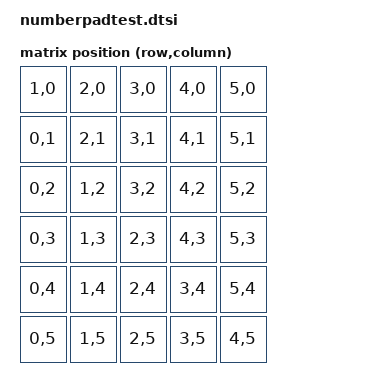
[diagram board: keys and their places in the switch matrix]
#include <dt-bindings/zmk/matrix_transform.h>
#include <physical_layouts.dtsi>
#include <dt-bindings/zmk/bt.h>

/ {
  chosen {
    zmk,physical-layout = &numberpadtest_physical_layout;
  };

numberpadtest_physical_layout: numberpadtest_physical_layout {
      compatible = "zmk,physical-layout";
      display-name = "Default";
      transform = <&default_transform>;
      kscan = <&kscan0>;

      keys  //                     w   h    x    y     rot    rx    ry
          = <&key_physical_attrs 100 100    0    0       0     0     0>
          , <&key_physical_attrs 100 100  100    0       0     0     0>
          , <&key_physical_attrs 100 100  200    0       0     0     0>
          , <&key_physical_attrs 100 100  300    0       0     0     0>
          , <&key_physical_attrs 100 100  400    0       0     0     0>
          , <&key_physical_attrs 100 100    0    100       0     0     0>
          , <&key_physical_attrs 100 100  100    100       0     0     0>
          , <&key_physical_attrs 100 100  200    100       0     0     0>
          , <&key_physical_attrs 100 100  300    100       0     0     0>
          , <&key_physical_attrs 100 100  400    100       0     0     0>
          , <&key_physical_attrs 100 100    0    200       0     0     0>
          , <&key_physical_attrs 100 100  100    200       0     0     0>
          , <&key_physical_attrs 100 100  200    200       0     0     0>
          , <&key_physical_attrs 100 100  300    200       0     0     0>
          , <&key_physical_attrs 100 100  400    200       0     0     0>
          , <&key_physical_attrs 100 100    0    300       0     0     0>
          , <&key_physical_attrs 100 100  100    300       0     0     0>
          , <&key_physical_attrs 100 100  200    300       0     0     0>
          , <&key_physical_attrs 100 100  300    300       0     0     0>
          , <&key_physical_attrs 100 100  400    300       0     0     0>
          , <&key_physical_attrs 100 100    0    400       0     0     0>
          , <&key_physical_attrs 100 100  100    400       0     0     0>
          , <&key_physical_attrs 100 100  200    400       0     0     0>
          , <&key_physical_attrs 100 100  300    400       0     0     0>
          , <&key_physical_attrs 100 100  400    400       0     0     0>
          , <&key_physical_attrs 100 100    0    500       0     0     0>
          , <&key_physical_attrs 100 100  100    500       0     0     0>
          , <&key_physical_attrs 100 100  200    500       0     0     0>
          , <&key_physical_attrs 100 100  300    500       0     0     0>
          , <&key_physical_attrs 100 100  400    500       0     0     0>
          ;
        };



    default_transform: keymap_transform_0 {
        compatible = "zmk,matrix-transform";
        columns = <7>;
        rows = <6>;

        map = <
            RC(1,0) RC(2,0) RC(3,0) RC(4,0) RC(5,0)
            RC(0,1) RC(2,1) RC(3,1) RC(4,1) RC(5,1)
            RC(0,2) RC(1,2) RC(3,2) RC(4,2) RC(5,2)
            RC(0,3) RC(1,3) RC(2,3) RC(4,3) RC(5,3)
          RC(0,4) RC(1,4) RC(2,4) RC(3,4) RC(5,4)
            RC(0,5) RC(1,5) RC(2,5) RC(3,5) RC(4,5)
        >;
    };

    kscan0: kscan_0 {
        compatible = "zmk,kscan-gpio-charlieplex";
 
        interrupt-gpios = <& xiao_d 1 (GPIO_ACTIVE_HIGH | GPIO_PULL_DOWN)>;
    };
};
